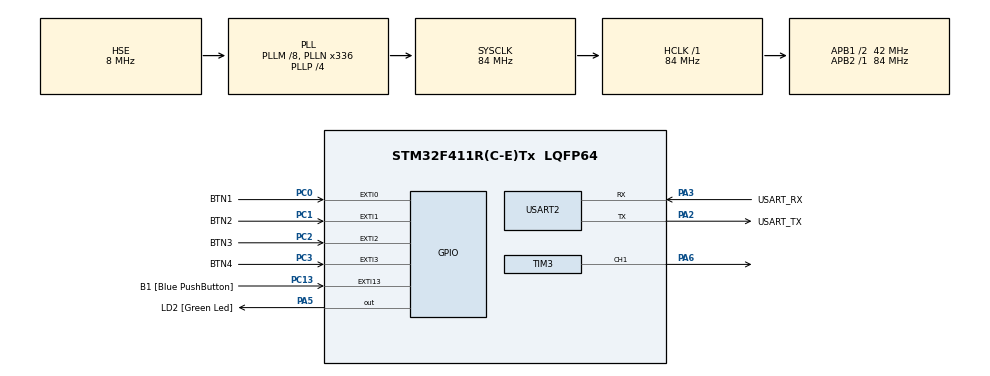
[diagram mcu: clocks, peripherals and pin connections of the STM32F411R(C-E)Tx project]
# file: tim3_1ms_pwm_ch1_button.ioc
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Mcu.Family=STM32F4
Mcu.Name=STM32F411R(C-E)Tx
Mcu.Package=LQFP64
NVIC.EXTI0_IRQn=true\:0\:0\:false\:false\:true\:true\:true\:true
NVIC.EXTI1_IRQn=true\:0\:0\:false\:false\:true\:true\:true\:true
NVIC.EXTI2_IRQn=true\:0\:0\:false\:false\:true\:true\:true\:true
NVIC.EXTI3_IRQn=true\:0\:0\:false\:false\:true\:true\:true\:true
NVIC.PriorityGroup=NVIC_PRIORITYGROUP_2
NVIC.TIM3_IRQn=true\:0\:0\:true\:false\:true\:true\:true\:true
PA13.GPIO_Label=TMS
PA13.Mode=Serial_Wire
PA13.Signal=SYS_JTMS-SWDIO
PA14.GPIO_Label=TCK
PA14.Mode=Serial_Wire
PA14.Signal=SYS_JTCK-SWCLK
PA2.GPIO_Label=USART_TX
PA2.Mode=Asynchronous
PA2.Signal=USART2_TX
PA3.GPIO_Label=USART_RX
PA3.Mode=Asynchronous
PA3.Signal=USART2_RX
PA5.GPIO_Label=LD2 [Green Led]
PA5.Signal=GPIO_Output
PA6.Signal=S_TIM3_CH1
PB3.GPIO_Label=SWO
PB3.Signal=SYS_JTDO-SWO
PC0.GPIO_Label=BTN1
PC0.Signal=GPXTI0
PC1.GPIO_Label=BTN2
PC1.Signal=GPXTI1
PC13-ANTI_TAMP.GPIO_Label=B1 [Blue PushButton]
PC13-ANTI_TAMP.GPIO_ModeDefaultEXTI=GPIO_MODE_IT_FALLING
PC13-ANTI_TAMP.Signal=GPXTI13
PC14-OSC32_IN.Signal=RCC_OSC32_IN
PC15-OSC32_OUT.Signal=RCC_OSC32_OUT
PC2.GPIO_Label=BTN3
PC2.Signal=GPXTI2
PC3.GPIO_Label=BTN4
PC3.Signal=GPXTI3
PH0\ -\ OSC_IN.Mode=HSE-External-Oscillator
PH0\ -\ OSC_IN.Signal=RCC_OSC_IN
PH1\ -\ OSC_OUT.Mode=HSE-External-Oscillator
PH1\ -\ OSC_OUT.Signal=RCC_OSC_OUT
ProjectManager.HeapSize=0x200
ProjectManager.StackSize=0x400
ProjectManager.TargetToolchain=STM32CubeIDE
RCC.48MHZClocksFreq_Value=84000000
RCC.AHBFreq_Value=84000000
RCC.APB1CLKDivider=RCC_HCLK_DIV2
RCC.APB1Freq_Value=42000000
RCC.APB1TimFreq_Value=84000000
RCC.APB2Freq_Value=84000000
RCC.APB2TimFreq_Value=84000000
RCC.CortexFreq_Value=84000000
RCC.FLatency-AdvancedSettings=FLASH_LATENCY_2
RCC.HCLKFreq_Value=84000000
RCC.HSE_VALUE=8000000
RCC.HSI_VALUE=16000000
RCC.LSE_VALUE=32768
RCC.PLLM=8
RCC.PLLN=336
RCC.PLLP=RCC_PLLP_DIV4
RCC.PLLSourceVirtual=RCC_PLLSOURCE_HSE
RCC.SYSCLKFreq_VALUE=84000000
RCC.SYSCLKSource=RCC_SYSCLKSOURCE_PLLCLK
RCC.VCOOutputFreq_Value=336000000
SH.S_TIM3_CH1.0=TIM3_CH1,PWM Generation1 CH1
TIM3.AutoReloadPreload=TIM_AUTORELOAD_PRELOAD_ENABLE
TIM3.Channel-PWM\ Generation1\ CH1=TIM_CHANNEL_1
TIM3.OCPolarity_1=TIM_OCPOLARITY_HIGH
TIM3.Period=1000-1
TIM3.Prescaler=84-1
TIM3.Pulse-PWM\ Generation1\ CH1=0
USART2.VirtualMode=VM_ASYNC
VP_TIM3_VS_ClockSourceINT.Mode=Internal
board=NUCLEO-F411RE

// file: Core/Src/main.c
/* USER CODE BEGIN Header */
/**
  ******************************************************************************
  * @file           : main.c
  * @brief          : Main program body
  ******************************************************************************
  * @attention
  *
  * Copyright (c) 2024 STMicroelectronics.
  * All rights reserved.
  *
  * This software is licensed under terms that can be found in the LICENSE file
  * in the root directory of this software component.
  * If no LICENSE file comes with this software, it is provided AS-IS.
  *
  ******************************************************************************
  */
/* USER CODE END Header */
#include "main.h"

/* USER CODE BEGIN Includes */
#include <stdio.h>
/* USER CODE END Includes */

/* USER CODE BEGIN PD */
#ifdef __GNUC__
/* With GCC, small printf (option LD Linker->Libraries->Small printf
   set to 'Yes') calls __io_putchar() */
#define PUTCHAR_PROTOTYPE int __io_putchar(int ch)
#else
#define PUTCHAR_PROTOTYPE int fputc(int ch, FILE *f)
#endif /* __GNUC__ */
/* USER CODE END PD */

TIM_HandleTypeDef htim3;

UART_HandleTypeDef huart2;

/* USER CODE BEGIN PV */
volatile int tim3Flag1Sec;
volatile unsigned int tim3Sec;
volatile unsigned int tim3Cnt;
volatile int keyNo;
/* USER CODE END PV */

void SystemClock_Config(void);
static void MX_GPIO_Init(void);
static void MX_USART2_UART_Init(void);
static void MX_TIM3_Init(void);

int main(void)
{

  /* USER CODE BEGIN 1 */
	unsigned int tim3CntOld=0;
	int pluse = 0;
	int pluseOld = 0;
	int dir=1;
  /* USER CODE END 1 */

  /* MCU Configuration--------------------------------------------------------*/

  /* Reset of all peripherals, Initializes the Flash interface and the Systick. */
  HAL_Init();

  /* Configure the system clock */
  SystemClock_Config();

  /* Initialize all configured peripherals */
  MX_GPIO_Init();
  MX_USART2_UART_Init();
  MX_TIM3_Init();
  /* USER CODE BEGIN 2 */
  if(HAL_TIM_Base_Start_IT(&htim3) != HAL_OK)
  {
	  Error_Handler();
  }
  if(HAL_TIM_PWM_Start(&htim3, TIM_CHANNEL_1) != HAL_OK)
  {
	  Error_Handler();
  }
  printf("start main() - tim3_1ms_pwm_ch1\r\n");
  /* USER CODE END 2 */

  /* Infinite loop */
  /* USER CODE BEGIN WHILE */
  while (1)
  {
/*
	  if(!(tim3Cnt%100) && (tim3Cnt != tim3CntOld))	//100ms 마다 ?��?��
	  {
		  tim3CntOld = tim3Cnt;
		  __HAL_TIM_SetCompare(&htim3,TIM_CHANNEL_1,(pluse-1)<0?0:pluse-1);
		  printf("tim3Cnt : %u, pluse : %d\r\n",tim3Cnt,pluse);

		  if(dir && (pluse < 1000))  {
			  pluse += 100;
			  if(pluse == 1000)
			  {
				  dir = 0;
			  }
		  }
		  else if(!dir && (pluse > 0))
		  {
			  pluse -= 100;
			  if(pluse == 0)
			  {
				  dir = 1;
			  }
		  }
	  }
*/

	  if(keyNo != 0)
	  {
		  if((keyNo == 1) && (pluse > 0))
		  {
			  pluse -= 100;
		  }
		  if((keyNo == 2) && (pluse < 1000))
		  {
			  pluse += 100;
		  }

		  else if(keyNo == 3)
		  {
			  pluseOld = pluse;
			  pluse = 0;
		  }
		  else if(keyNo == 4)
		  {
			  pluse = pluseOld;
		  }

		  __HAL_TIM_SetCompare(&htim3,TIM_CHANNEL_1,(pluse-1)<0?0:pluse-1);
		  printf("keyNo : %u, pluse : %d\r\n",keyNo,pluse);
		  keyNo = 0;
	  }

/*
	  if(tim3Flag1Sec)		//1초
	  {
		  tim3Flag1Sec = 0;
		  HAL_GPIO_TogglePin(LD2_GPIO_Port,LD2_Pin);
		  printf("tim3Sec : %d\r\n",tim3Sec);
	  }
*/
    /* USER CODE END WHILE */

  }
}

void SystemClock_Config(void)
{
  RCC_OscInitTypeDef RCC_OscInitStruct = {0};
  RCC_ClkInitTypeDef RCC_ClkInitStruct = {0};

  /** Configure the main internal regulator output voltage
  */
  __HAL_RCC_PWR_CLK_ENABLE();
  __HAL_PWR_VOLTAGESCALING_CONFIG(PWR_REGULATOR_VOLTAGE_SCALE1);

  /** Initializes the RCC Oscillators according to the specified parameters
  * in the RCC_OscInitTypeDef structure.
  */
  RCC_OscInitStruct.OscillatorType = RCC_OSCILLATORTYPE_HSE;
  RCC_OscInitStruct.HSEState = RCC_HSE_ON;
  RCC_OscInitStruct.PLL.PLLState = RCC_PLL_ON;
  RCC_OscInitStruct.PLL.PLLSource = RCC_PLLSOURCE_HSE;
  RCC_OscInitStruct.PLL.PLLM = 8;
  RCC_OscInitStruct.PLL.PLLN = 336;
  RCC_OscInitStruct.PLL.PLLP = RCC_PLLP_DIV4;
  RCC_OscInitStruct.PLL.PLLQ = 4;
  if (HAL_RCC_OscConfig(&RCC_OscInitStruct) != HAL_OK)
  {
    Error_Handler();
  }

  /** Initializes the CPU, AHB and APB buses clocks
  */
  RCC_ClkInitStruct.ClockType = RCC_CLOCKTYPE_HCLK|RCC_CLOCKTYPE_SYSCLK
                              |RCC_CLOCKTYPE_PCLK1|RCC_CLOCKTYPE_PCLK2;
  RCC_ClkInitStruct.SYSCLKSource = RCC_SYSCLKSOURCE_PLLCLK;
  RCC_ClkInitStruct.AHBCLKDivider = RCC_SYSCLK_DIV1;
  RCC_ClkInitStruct.APB1CLKDivider = RCC_HCLK_DIV2;
  RCC_ClkInitStruct.APB2CLKDivider = RCC_HCLK_DIV1;

  if (HAL_RCC_ClockConfig(&RCC_ClkInitStruct, FLASH_LATENCY_2) != HAL_OK)
  {
    Error_Handler();
  }
}

static void MX_TIM3_Init(void)
{

  TIM_ClockConfigTypeDef sClockSourceConfig = {0};
  TIM_MasterConfigTypeDef sMasterConfig = {0};
  TIM_OC_InitTypeDef sConfigOC = {0};

  htim3.Instance = TIM3;
  htim3.Init.Prescaler = 84-1;
  htim3.Init.CounterMode = TIM_COUNTERMODE_UP;
  htim3.Init.Period = 1000-1;
  htim3.Init.ClockDivision = TIM_CLOCKDIVISION_DIV1;
  htim3.Init.AutoReloadPreload = TIM_AUTORELOAD_PRELOAD_ENABLE;
  if (HAL_TIM_Base_Init(&htim3) != HAL_OK)
  {
    Error_Handler();
  }
  sClockSourceConfig.ClockSource = TIM_CLOCKSOURCE_INTERNAL;
  if (HAL_TIM_ConfigClockSource(&htim3, &sClockSourceConfig) != HAL_OK)
  {
    Error_Handler();
  }
  if (HAL_TIM_PWM_Init(&htim3) != HAL_OK)
  {
    Error_Handler();
  }
  sMasterConfig.MasterOutputTrigger = TIM_TRGO_RESET;
  sMasterConfig.MasterSlaveMode = TIM_MASTERSLAVEMODE_DISABLE;
  if (HAL_TIMEx_MasterConfigSynchronization(&htim3, &sMasterConfig) != HAL_OK)
  {
    Error_Handler();
  }
  sConfigOC.OCMode = TIM_OCMODE_PWM1;
  sConfigOC.Pulse = 0;
  sConfigOC.OCPolarity = TIM_OCPOLARITY_HIGH;
  sConfigOC.OCFastMode = TIM_OCFAST_DISABLE;
  if (HAL_TIM_PWM_ConfigChannel(&htim3, &sConfigOC, TIM_CHANNEL_1) != HAL_OK)
  {
    Error_Handler();
  }
  HAL_TIM_MspPostInit(&htim3);

}

static void MX_USART2_UART_Init(void)
{

  huart2.Instance = USART2;
  huart2.Init.BaudRate = 115200;
  huart2.Init.WordLength = UART_WORDLENGTH_8B;
  huart2.Init.StopBits = UART_STOPBITS_1;
  huart2.Init.Parity = UART_PARITY_NONE;
  huart2.Init.Mode = UART_MODE_TX_RX;
  huart2.Init.HwFlowCtl = UART_HWCONTROL_NONE;
  huart2.Init.OverSampling = UART_OVERSAMPLING_16;
  if (HAL_UART_Init(&huart2) != HAL_OK)
  {
    Error_Handler();
  }

}

static void MX_GPIO_Init(void)
{
  GPIO_InitTypeDef GPIO_InitStruct = {0};

  /* GPIO Ports Clock Enable */
  __HAL_RCC_GPIOC_CLK_ENABLE();
  __HAL_RCC_GPIOH_CLK_ENABLE();
  __HAL_RCC_GPIOA_CLK_ENABLE();
  __HAL_RCC_GPIOB_CLK_ENABLE();

  /*Configure GPIO pin Output Level */
  HAL_GPIO_WritePin(LD2_GPIO_Port, LD2_Pin, GPIO_PIN_RESET);

  /*Configure GPIO pin : B1_Pin */
  GPIO_InitStruct.Pin = B1_Pin;
  GPIO_InitStruct.Mode = GPIO_MODE_IT_FALLING;
  GPIO_InitStruct.Pull = GPIO_NOPULL;
  HAL_GPIO_Init(B1_GPIO_Port, &GPIO_InitStruct);

  /*Configure GPIO pins : BTN1_Pin BTN2_Pin BTN3_Pin BTN4_Pin */
  GPIO_InitStruct.Pin = BTN1_Pin|BTN2_Pin|BTN3_Pin|BTN4_Pin;
  GPIO_InitStruct.Mode = GPIO_MODE_IT_RISING;
  GPIO_InitStruct.Pull = GPIO_NOPULL;
  HAL_GPIO_Init(GPIOC, &GPIO_InitStruct);

  /*Configure GPIO pin : LD2_Pin */
  GPIO_InitStruct.Pin = LD2_Pin;
  GPIO_InitStruct.Mode = GPIO_MODE_OUTPUT_PP;
  GPIO_InitStruct.Pull = GPIO_NOPULL;
  GPIO_InitStruct.Speed = GPIO_SPEED_FREQ_LOW;
  HAL_GPIO_Init(LD2_GPIO_Port, &GPIO_InitStruct);

  /* EXTI interrupt init*/
  HAL_NVIC_SetPriority(EXTI0_IRQn, 0, 0);
  HAL_NVIC_EnableIRQ(EXTI0_IRQn);

  HAL_NVIC_SetPriority(EXTI1_IRQn, 0, 0);
  HAL_NVIC_EnableIRQ(EXTI1_IRQn);

  HAL_NVIC_SetPriority(EXTI2_IRQn, 0, 0);
  HAL_NVIC_EnableIRQ(EXTI2_IRQn);

  HAL_NVIC_SetPriority(EXTI3_IRQn, 0, 0);
  HAL_NVIC_EnableIRQ(EXTI3_IRQn);

}

/* USER CODE BEGIN 4 */
/**
  * @brief  Retargets the C library printf function to the USART.
  * @param  None
  * @retval None
  */
PUTCHAR_PROTOTYPE
{
  /* Place your implementation of fputc here */
  /* e.g. write a character to the USART6 and Loop until the end of transmission */
  HAL_UART_Transmit(&huart2, (uint8_t *)&ch, 1, 0xFFFF);

  return ch;
}
void HAL_TIM_PeriodElapsedCallback(TIM_HandleTypeDef *htim)		//1ms 마다 ?���???
{

	tim3Cnt++;
	if(tim3Cnt == 1000) //1ms * 1000 = 1Sec
	{
		tim3Flag1Sec = 1;
		tim3Sec++;
		tim3Cnt = 0;
	}
}
void HAL_GPIO_EXTI_Callback(uint16_t GPIO_Pin)
{
	switch(GPIO_Pin)
	{
	 case BTN1_Pin:
		 keyNo = 1;
		 break;
	 case BTN2_Pin:
		 keyNo = 2;
		 break;
	 case BTN3_Pin:
		 keyNo = 3;
		 break;
	 case BTN4_Pin:
		 keyNo = 4;
		 break;
	}
}
/* USER CODE END 4 */

void Error_Handler(void)
{
  __disable_irq();
  while (1)
  {
  }
}
